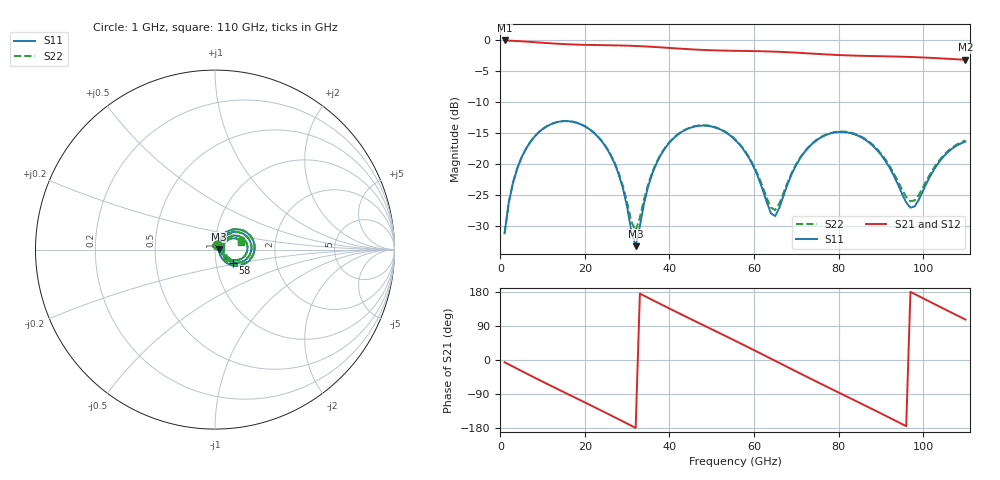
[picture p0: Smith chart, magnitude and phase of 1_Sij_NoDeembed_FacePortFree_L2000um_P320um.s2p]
! Touchstone file exported from HFSS 2024.2.0
!  File:  C:/Users/vaintrug/Documents/Ansoft_Workspace/Comparaison_Calculs_HFSS/1_VarPort.aedt
!  Generated:  03:22:19 PM Jan 21, 2025
!  Design:  1_NoDeembed_FacePortFree
!  Project:  1_VarPort
!  Setup:  Setup1
!  Solution:  Sweep
! Variables:
!  $Lenght = 2000um
!  $PortSize = 320um
!  Gap = 30um
!  Th = 2um
!  X_centralStrip = 20um
!  X_masse = 200um
!  Y_Sub = 2mm
!  Z_Box = 400um
!  Z_Sub = 200um
# GHz S MA R 50.000000
! Terminal data exported
! Port[1] = 1
! Port[2] = 2
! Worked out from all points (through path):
!   110 points, 1 GHz to 110 GHz, reference 50 ohm
!   highest |S21| = -0.13 dB at 1 GHz (marker M1); lowest = -3.2 dB at 110 GHz (marker M2)
!   group delay of S21, straight-line fit = 15.4 ps
!   lowest |S11| = -33.2 dB at 32 GHz (marker M3), VSWR 1.04, Z = 52.2 + j0.34 ohm
!   |S11| at or under -10 dB: start of sweep to end of sweep
!   |S22| runs from -31.2 to -13.1 dB; largest |S21 - S12| = 2e-15
!   S11 on the Smith chart (normalised r, x): 1 GHz: 1.03, +0.05; 58 GHz: 1.21, -0.18; 110 GHz: 1.34, +0.11
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1  0.02771 61.1  0.9854 -5.9  0.9854 -5.9  0.0277 61.2
! Gamma 5.93228151597829 49.862987889628 5.86087502264381 49.8142291377036
! Port Impedance 50 0 50 0
3  0.07105 65.5  0.9782 -17.4  0.9782 -17.4  0.07104 65.7
7  0.1491 48.5  0.9599 -40.3  0.9599 -40.3  0.1491 48.9
13  0.2153 17.5  0.9297 -73.7  0.9297 -73.7  0.2155 18.4
20  0.2007 -18.0  0.9085 -112.0  0.9085 -112.0  0.2013 -16.3
27  0.1011 -48.7  0.8998 -150.9  0.8998 -150.9  0.1029 -44.6
32  0.02182 8.6  0.8896 -179.2  0.8896 -179.2  0.02908 7.5
35  0.0668 57.3  0.8795 163.8  0.8795 163.8  0.06954 52.3
38  0.1191 50.0  0.867 146.9  0.867 146.9  0.1207 47.6
43  0.182 28.3  0.8446 119.2  0.8446 119.2  0.1832 27.5
47  0.2028 9.8  0.8297 97.4  0.8297 97.4  0.204 9.7
56  0.1506 -29.4  0.8129 48.2  0.8129 48.2  0.1524 -28.1
58  0.1236 -36.1  0.811 37.2  0.811 37.2  0.1256 -34.3
65  0.03809 8.2  0.8004 -2.2  0.8004 -2.2  0.04256 7.2
70  0.09855 43.0  0.7858 -30.4  0.7858 -30.4  0.1001 41.5
74  0.1476 31.2  0.7716 -52.7  0.7716 -52.7  0.1488 30.9
83  0.1767 -5.8  0.7456 -102.2  0.7456 -102.2  0.1784 -4.5
92  0.09415 -34.2  0.7336 -152.0  0.7336 -152.0  0.09738 -30.8
96  0.049 -17.1  0.7276 -174.6  0.7276 -174.6  0.05424 -13.9
98  0.04561 12.6  0.7236 174.1  0.7236 174.1  0.05094 12.2
104  0.1061 35.1  0.7074 140.2  0.7074 140.2  0.1088 34.8
110  0.1513 15.7  0.6892 106.7  0.6892 106.7  0.1544 17.2
